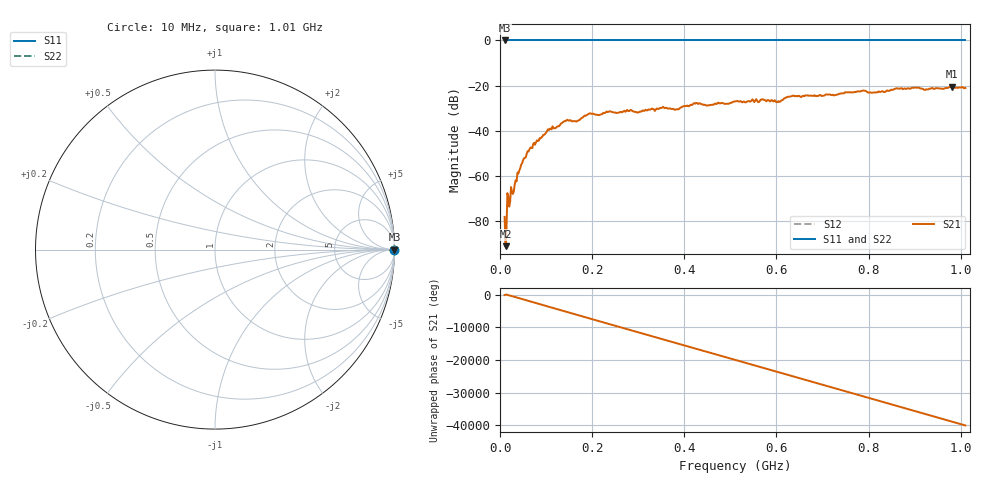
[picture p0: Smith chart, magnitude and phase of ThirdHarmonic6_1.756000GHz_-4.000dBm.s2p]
! 8/16/2025 9:11:15 PM
! C:\ANRITSUVNA\TEMP\TEMP.S2P
! CHANNEL.1
! TR.MEASUREMENT
! RAW.DATA
! RF.CORRECTION.OFF
! AVERAGING.OFF
! IF.BANDWIDTH: 5KHZ
! SWEEPTYPE:  FREQ.SWEEP(Linear)
! Reference Plane Port Info
! PORT:  PORT1  PORT2
! DISTANCE:  0  m  0  m
! TIME:  0  s  0  s
! PHASE.OFFSET:  0  deg.  0  deg.
! LOSS:  0  dB  0  dB
! REF.LOSS:  0  dB  0  dB
! REF.FREQ:  0  Hz  0  Hz
! Power Info
! POWER:  -20  dBm  -20  dBm
! EFF.POWER:  -20  dBm  -20  dBm
! SOURCE.ATTEN:  0  dB  0  dB
! TEST.ATTEN:  0  dB  0  dB
# GHZ S RI R 50.0
! FREQ.GHZ  S11RE  S11IM  S21RE  S21IM  S12RE  S12IM  S22RE  S22IM
!; PortSelection: Port_12
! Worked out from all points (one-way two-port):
!   501 points, 10 MHz to 1.01 GHz, reference 50 ohm
!   highest |S21| = -20.40 dB at 980 MHz (marker M1); lowest = -91.0 dB at 12 MHz (marker M2)
!   lowest |S11| = 0.0 dB at 10 MHz (marker M3)
!   |S11| at or under -10 dB: nowhere
!   |S22| runs from 0.0 to 0.0 dB; largest |S21 - S12| = 1.1
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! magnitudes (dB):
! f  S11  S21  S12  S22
! 10 MHz  0.0  -78.0  0.0  0.0
! 12 MHz  0.0  -91.0  0.0  0.0
! 18 MHz  0.0  -68.9  0.0  0.0
! 20 MHz  0.0  -73.5  0.0  0.0
! 24 MHz  0.0  -64.8  0.0  0.0
! 48 MHz  0.0  -54.3  0.0  0.0
! 64 MHz  0.0  -48.1  0.0  0.0
! 106 MHz  0.0  -39.6  0.0  0.0
! 142 MHz  0.0  -35.6  0.0  0.0
! 178 MHz  0.0  -34.2  0.0  0.0
! 196 MHz  0.0  -32.2  0.0  0.0
! 344 MHz  0.0  -30.3  0.0  0.0
! 384 MHz  0.0  -30.4  0.0  0.0
! 424 MHz  0.0  -27.9  0.0  0.0
! 452 MHz  0.0  -28.6  0.0  0.0
! 510 MHz  0.0  -27.0  0.0  0.0
! 604 MHz  0.0  -26.9  0.0  0.0
! 634 MHz  0.0  -24.6  0.0  0.0
! 678 MHz  0.0  -24.5  0.0  0.0
! 844 MHz  0.0  -22.3  0.0  0.0
! 980 MHz  0.0  -20.4  0.0  0.0
! 1.01 GHz  0.0  -21.0  0.0  0.0
